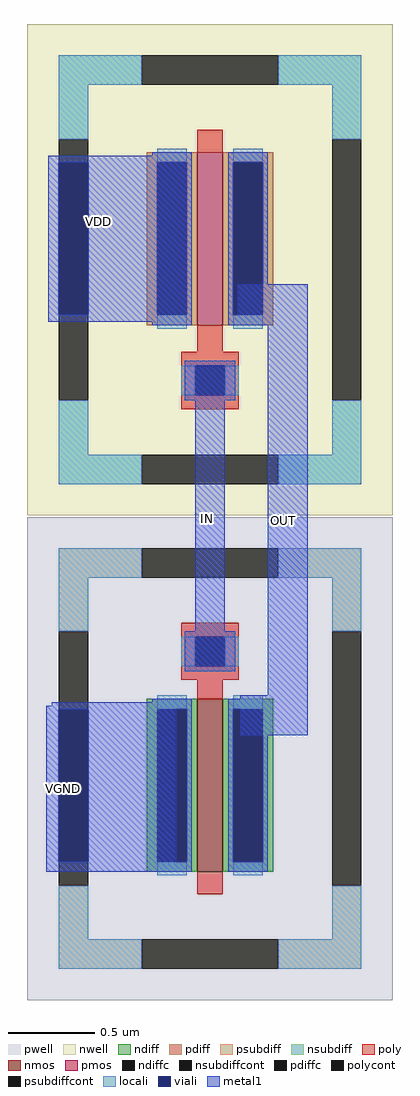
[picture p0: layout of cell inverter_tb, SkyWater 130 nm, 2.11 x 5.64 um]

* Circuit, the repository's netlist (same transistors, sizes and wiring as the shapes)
* NGSPICE file created from inverter_tb.ext - technology: sky130A

.subckt sky130_fd_pr__nfet_01v8_64Z3AY a_15_n131# a_n175_n243# a_n33_91# a_n73_n131#
X0 a_15_n131# a_n33_91# a_n73_n131# a_n175_n243# sky130_fd_pr__nfet_01v8 ad=0.29 pd=2.58 as=0.29 ps=2.58 w=1 l=0.15
.ends

.subckt sky130_fd_pr__pfet_01v8_LGS3BL a_n73_n64# a_n33_n161# a_15_n64# w_n211_n284#
X0 a_15_n64# a_n33_n161# a_n73_n64# w_n211_n284# sky130_fd_pr__pfet_01v8 ad=0.29 pd=2.58 as=0.29 ps=2.58 w=1 l=0.15
.ends

.subckt inverter_tb VDD IN OUT VGND
XXM1 OUT VGND IN VGND sky130_fd_pr__nfet_01v8_64Z3AY
XXM2 VDD IN OUT VDD sky130_fd_pr__pfet_01v8_LGS3BL
.ends

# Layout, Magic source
magic
tech sky130A
magscale 1 2
<< viali >>
rect 628 1134 662 1310
rect 628 502 662 678
<< metal1 >>
rect 616 1310 772 1318
rect 616 1134 628 1310
rect 662 1134 776 1310
rect 616 1126 772 1134
rect 835 1123 916 1169
rect 786 728 820 1074
rect 870 694 916 1123
rect 620 682 764 686
rect 614 678 764 682
rect 614 502 628 678
rect 662 502 764 678
rect 838 648 916 694
rect 614 494 764 502
rect 614 490 758 494
use sky130_fd_pr__nfet_01v8_64Z3AY  XM1
transform 1 0 803 0 1 621
box -211 -279 211 279
use sky130_fd_pr__pfet_01v8_LGS3BL  XM2
transform 1 0 803 0 1 1186
box -211 -284 211 284
<< labels >>
flabel metal1 674 1242 674 1242 0 FreeSans 160 0 0 0 VDD
port 1 nsew
flabel metal1 800 898 800 898 0 FreeSans 160 0 0 0 IN
port 3 nsew
flabel metal1 888 896 888 896 0 FreeSans 160 0 0 0 OUT
port 5 nsew
flabel viali 634 586 634 586 0 FreeSans 160 0 0 0 VGND
port 7 nsew
<< end >>

# cell sky130_fd_pr__nfet_01v8_64Z3AY: kit device sky130_fd_pr__nfet_01v8, w 1.0 l 0.15 m 1 nf 1 diffcov 100 polycov 100 guard 1 glc 1 grc 1 gtc 1 gbc 1 tbcov 100 rlcov 100 topc 1 botc 0 poverlap 0 doverlap 1 lmin 0.15 wmin 0.42 compatible {sky130_fd_pr__nfet_01v8 sky130_fd_pr__nfet_01v8_lvt sky130_fd_bs_flash__special_sonosfet_star sky130_fd_pr__nfet_g5v0d10v5 sky130_fd_pr__nfet_05v0_nvt sky130_fd_pr__nfet_03v3_nvt} full_metal 1 viasrc 100 viadrn 100 viagate 100 viagb 0 viagr 0 viagl 0 viagt 0

# cell sky130_fd_pr__pfet_01v8_LGS3BL: kit device sky130_fd_pr__pfet_01v8, w 1.0 l 0.15 m 1 nf 1 diffcov 100 polycov 100 guard 1 glc 1 grc 1 gtc 1 gbc 1 tbcov 100 rlcov 100 topc 0 botc 1 poverlap 0 doverlap 1 lmin 0.15 wmin 0.42 compatible {sky130_fd_pr__pfet_01v8 sky130_fd_pr__pfet_01v8_lvt sky130_fd_pr__pfet_01v8_hvt sky130_fd_pr__pfet_g5v0d10v5} full_metal 1 viasrc 100 viadrn 100 viagate 100 viagb 0 viagr 0 viagl 0 viagt 0
